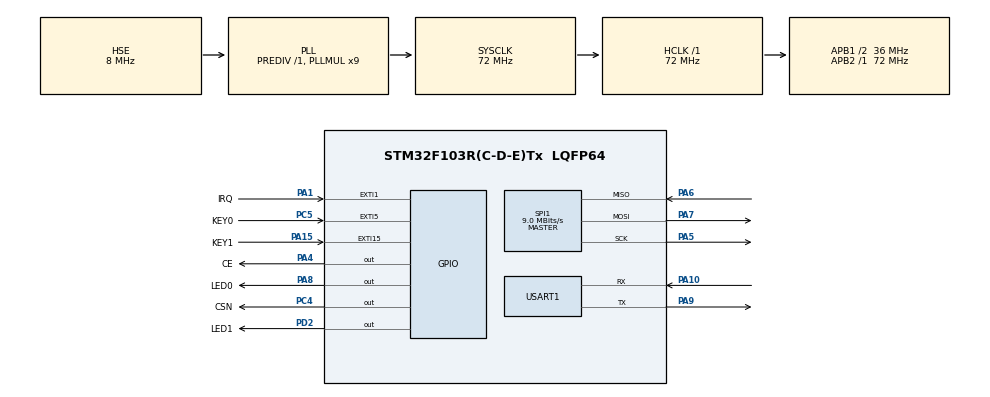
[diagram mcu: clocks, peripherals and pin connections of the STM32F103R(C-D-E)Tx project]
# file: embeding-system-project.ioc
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Mcu.Family=STM32F1
Mcu.Name=STM32F103R(C-D-E)Tx
Mcu.Package=LQFP64
NVIC.EXTI15_10_IRQn=true\:3\:0\:true\:false\:true\:true\:true
NVIC.EXTI9_5_IRQn=true\:3\:0\:true\:false\:true\:true\:true
NVIC.PriorityGroup=NVIC_PRIORITYGROUP_4
NVIC.SPI1_IRQn=true\:1\:0\:true\:false\:true\:true\:true
NVIC.USART1_IRQn=true\:2\:0\:true\:false\:true\:true\:true
PA1.GPIO_Label=IRQ
PA1.Signal=GPXTI1
PA10.Mode=Asynchronous
PA10.Signal=USART1_RX
PA13.Mode=Serial_Wire
PA13.Signal=SYS_JTMS-SWDIO
PA14.Mode=Serial_Wire
PA14.Signal=SYS_JTCK-SWCLK
PA15.GPIO_Label=KEY1
PA15.Signal=GPXTI15
PA4.GPIO_Label=CE
PA4.Signal=GPIO_Output
PA5.Mode=Full_Duplex_Master
PA5.Signal=SPI1_SCK
PA6.Mode=Full_Duplex_Master
PA6.Signal=SPI1_MISO
PA7.Mode=Full_Duplex_Master
PA7.Signal=SPI1_MOSI
PA8.GPIO_Label=LED0
PA8.Signal=GPIO_Output
PA9.Mode=Asynchronous
PA9.Signal=USART1_TX
PC4.GPIO_Label=CSN
PC4.Signal=GPIO_Output
PC5.GPIO_Label=KEY0
PC5.Signal=GPXTI5
PD0-OSC_IN.Mode=HSE-External-Oscillator
PD0-OSC_IN.Signal=RCC_OSC_IN
PD1-OSC_OUT.Mode=HSE-External-Oscillator
PD1-OSC_OUT.Signal=RCC_OSC_OUT
PD2.GPIO_Label=LED1
PD2.Signal=GPIO_Output
ProjectManager.HeapSize=0x200
ProjectManager.StackSize=0x400
ProjectManager.TargetToolchain=STM32CubeIDE
RCC.AHBFreq_Value=72000000
RCC.APB1CLKDivider=RCC_HCLK_DIV2
RCC.APB1Freq_Value=36000000
RCC.APB1TimFreq_Value=72000000
RCC.APB2Freq_Value=72000000
RCC.APB2TimFreq_Value=72000000
RCC.HCLKFreq_Value=72000000
RCC.PLLMUL=RCC_PLL_MUL9
RCC.PLLSourceVirtual=RCC_PLLSOURCE_HSE
RCC.SYSCLKFreq_VALUE=72000000
RCC.SYSCLKSource=RCC_SYSCLKSOURCE_PLLCLK
RCC.USBFreq_Value=72000000
SPI1.BaudRatePrescaler=SPI_BAUDRATEPRESCALER_8
SPI1.CalculateBaudRate=9.0 MBits/s
SPI1.Direction=SPI_DIRECTION_2LINES
SPI1.Mode=SPI_MODE_MASTER
SPI1.VirtualType=VM_MASTER
USART1.VirtualMode=VM_ASYNC
board=custom

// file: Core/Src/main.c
/* USER CODE BEGIN Header */
/**
 ******************************************************************************
 * @file           : main.c
 * @brief          : Main program body
 ******************************************************************************
 * @attention
 *
 * <h2><center>&copy; Copyright (c) 2020 STMicroelectronics.
 * All rights reserved.</center></h2>
 *
 * This software component is licensed by ST under BSD 3-Clause license,
 * the "License"; You may not use this file except in compliance with the
 * License. You may obtain a copy of the License at:
 *                        opensource.org/licenses/BSD-3-Clause
 *
 ******************************************************************************
 */
/* USER CODE END Header */

#include "main.h"
#include "spi.h"
#include "usart.h"
#include "gpio.h"

/* USER CODE BEGIN Includes */
#include "24l01.h"
#include "string.h"
#include "stdio.h"
#include "lcd.h"
/* USER CODE END Includes */

/* USER CODE BEGIN PV */
const char HEARTBEAT[] = "$BEAT";

int channel = 0;
uint8_t set_channel = 0;
uint8_t welcome = 0;
uint8_t flash = 0;
uint8_t heart_cnt = 0;
uint8_t led_cnt = 0;
uint8_t connect_status = 0;
uint8_t send_signal = 0;
uint8_t rxBuffer[10];
uint8_t rx_len = 0;
char buffer_msg[1024];
uint8_t buffer_rec[33];
char tmp[1024];
uint8_t isBegin = 0;
int last_led = -1;

static unsigned char outData_send[144] = { 0 };
static unsigned char outData_receive[144] = { 0 };
/* USER CODE END PV */

void SystemClock_Config(void);

void painting_send(const uint8_t *content);
void painting_receive(const uint8_t *content);
/* USER CODE BEGIN PFP */
void sendUARTMessage(char *str) {
	HAL_UART_Transmit(&huart1, (uint8_t*) str, strlen(str), 0xffff);
}
void showString(uint16_t x, uint16_t y, uint16_t size, char *msg) {
	uint16_t len = strlen(msg);
	LCD_ShowString(x - len * size / 4, y - size / 2, 10000, 10000, size,
			(uint8_t*) msg);
}
/* USER CODE END PFP */

int main(void) {

	/* MCU Configuration--------------------------------------------------------*/

	/* Reset of all peripherals, Initializes the Flash interface and the Systick. */
	HAL_Init();

	/* USER CODE BEGIN Init */
	NRF24L01_Init();
	LCD_Init();
	/* USER CODE END Init */

	/* Configure the system clock */
	SystemClock_Config();

	/* Initialize all configured peripherals */
	MX_GPIO_Init();
	MX_SPI1_Init();
	MX_USART1_UART_Init();
	/* USER CODE BEGIN 2 */
	HAL_UART_Receive_IT(&huart1, (uint8_t*) rxBuffer, 1);

	// Initialize the vars
	// reset: return to init state
	HAL_GPIO_TogglePin(LED1_GPIO_Port, LED1_Pin);
	HAL_GPIO_TogglePin(LED0_GPIO_Port, LED0_Pin);
	memset(buffer_msg, 0, sizeof(buffer_msg));
	memset(buffer_rec, 0, sizeof(buffer_rec));
	send_signal = 0;

	LCD_Clear(WHITE);
	POINT_COLOR = BLUE;
	showString(120, 80, 24, "Wechat 2077");
	POINT_COLOR = GREEN;
	showString(120, 240, 24, "Channel Not Set");
	POINT_COLOR = BLACK;
	showString(120, 140, 24, "Welcome");
	LCD_DrawRectangle(20, 20, 220, 280);
	/* USER CODE END 2 */

	/* Infinite loop */
	/* USER CODE BEGIN WHILE */
	while (1) {
		// Check module status
		if (NRF24L01_Check()) {
			LCD_Clear(WHITE);
			set_channel = 0;
			POINT_COLOR = BLACK;
			sendUARTMessage("2.4GHz NOT FOUND\r\n");
			showString(120, 140, 24, "2.4GHz NOT FOUND");
		}
		while (NRF24L01_Check()) {
			HAL_Delay(500);
			if(last_led==0){
				HAL_GPIO_TogglePin(LED1_GPIO_Port, LED1_Pin);
				HAL_GPIO_TogglePin(LED0_GPIO_Port, LED0_Pin);
				last_led = 1;
			}else{
				HAL_GPIO_TogglePin(LED0_GPIO_Port, LED0_Pin);
				last_led = -last_led;
			}

			flash = 1;
		}

		// Check channel status
		if (set_channel == 0) {
			// Re-initialize leds
			if(last_led==1){
				HAL_GPIO_TogglePin(LED0_GPIO_Port, LED0_Pin);
				last_led=-1;
			}
			if(last_led==0){
				HAL_GPIO_TogglePin(LED1_GPIO_Port, LED1_Pin);
				last_led=-1;
			}
			last_led = -1;
			// Re-initialize vars
			memset(buffer_msg, 0, sizeof(buffer_msg));
			memset(buffer_rec, 0, sizeof(buffer_rec));
			send_signal = 0;
			welcome = 1;
			// Draw Intro Page
			if (isBegin) {
				LCD_Clear(WHITE);
				POINT_COLOR = BLUE;
				showString(120, 80, 24, "CLOSED");
				POINT_COLOR = GREEN;
				showString(120, 220, 24, "CH Clear");
				showString(120, 260, 24, "reset to restart");
				POINT_COLOR = BLACK;
				LCD_DrawRectangle(20, 20, 220, 280);
				sendUARTMessage("SET CHANNEL:");
			}

		}
		while (set_channel == 0 ) {
		}
		if (welcome) {
			showString(120, 140, 24, "  Enter: 3  ");
			HAL_Delay(500);
			showString(120, 140, 24, "  Enter: 2  ");
			HAL_Delay(500);
			showString(120, 140, 24, "  Enter: 1  ");
			HAL_Delay(200);
			welcome = 0;
			flash = 1;
			connect_status = 2;

			LCD_Clear(WHITE);
			POINT_COLOR = BLUE;
			LCD_DrawRectangle(18, 58, 212, 132);
			POINT_COLOR = BLACK;
			LCD_DrawRectangle(18, 178, 212, 252);
		}

		// Draw fundamental elements
		if (flash == 1) {
			sprintf(tmp, "CH:%d", channel);
			LCD_ShowString(10, 12, 200, 200, 16, (uint8_t*) tmp);
			if (connect_status == 0) {
				POINT_COLOR = BLACK;
				LCD_ShowString(200, 12, 100, 100, 16, (uint8_t*) "^w^");
				showString(120, 300, 16, "     CONNECT    ");
				if(last_led == 1){
					HAL_GPIO_TogglePin(LED0_GPIO_Port, LED0_Pin);
					HAL_GPIO_TogglePin(LED1_GPIO_Port, LED1_Pin);
				}
				if(last_led==-1){
					HAL_GPIO_TogglePin(LED1_GPIO_Port, LED1_Pin);
				}
				last_led = 0;
			} else {
				POINT_COLOR = RED;
				LCD_ShowString(200, 12, 100, 100, 16, (uint8_t*) "QwQ");
				showString(120, 300, 16, "CONNECTION LOST");

				sprintf(tmp, "CH:%d", last_led);
				sendUARTMessage(tmp);
				if(last_led == 0){
					HAL_GPIO_TogglePin(LED0_GPIO_Port, LED0_Pin);
					HAL_GPIO_TogglePin(LED1_GPIO_Port, LED1_Pin);
				}
				if(last_led==-1){
					HAL_GPIO_TogglePin(LED0_GPIO_Port, LED0_Pin);
				}
				last_led = 1;
			}

			POINT_COLOR = BLACK;
			LCD_DrawLine(10, 30, 230, 30);
			LCD_DrawLine(10, 290, 230, 290);

			flash = 0;
		}

		// Handle RX messages
		NRF24L01_RX_Mode(channel);
		memset(buffer_rec, 0, sizeof(buffer_rec));
		if (NRF24L01_RxPacket(buffer_rec) == 0) {
			if (strcmp((char*) buffer_rec, HEARTBEAT) == 0)
				continue;
			uint8_t rec_len = 0;

			while (buffer_rec[rec_len] != '\0')
				rec_len++;

			if (rec_len != 0) {
				painting_receive(buffer_rec);
				flash |= 1;
			}
		}

		// Handle TX messages
		if (send_signal == 1 && strlen(buffer_msg) != 0) {
			NRF24L01_TX_Mode(channel);

			uint8_t tmp_status = (connect_status == 2) ? 2 : 1;
			if (NRF24L01_TxPacket((uint8_t*) buffer_msg) == TX_OK) {
				tmp_status = 0;
			}
			connect_status = tmp_status;

			if (tmp_status == 0) {
				painting_send((uint8_t*) buffer_msg);
			}

			send_signal = 0;
			flash |= 1;
		}

		// Connection test (Heart Packet)
		heart_cnt++;
		if ( heart_cnt == 10 ) {
			NRF24L01_TX_Mode(channel);
			uint8_t temp_status;
			if(NRF24L01_TxPacket((uint8_t*) HEARTBEAT) == TX_OK){
				temp_status = 0;
			}else{
				if(connect_status == 2){
					temp_status = 2;
				}else{
					temp_status = 1;
				}
			}
			if (connect_status == temp_status) {
//				flash |= 0;
			} else {
				flash = 1;
			}

			connect_status = temp_status;
			heart_cnt = 0;
		}

		// LED setting
//		if (connect_status == 0) {
//			HAL_GPIO_WritePin(LED1_GPIO_Port, LED1_Pin, GPIO_PIN_RESET);
//			HAL_GPIO_WritePin(LED0_GPIO_Port, LED0_Pin, GPIO_PIN_SET);
//		} else if (connect_status == 1) {
//			led_cnt++;
//			if (led_cnt == LED_FLASH) {
//				HAL_GPIO_TogglePin(LED0_GPIO_Port, LED0_Pin);
//				led_cnt = 0;
//			}
//			HAL_GPIO_WritePin(LED1_GPIO_Port, LED1_Pin, GPIO_PIN_SET);
//		} else {
//			HAL_GPIO_WritePin(LED0_GPIO_Port, LED0_Pin, GPIO_PIN_RESET);
//			HAL_GPIO_WritePin(LED1_GPIO_Port, LED1_Pin, GPIO_PIN_SET);
//		}

		// Delay for next round
		HAL_Delay(100);

		/* USER CODE END WHILE */

	}
}

void SystemClock_Config(void) {
	RCC_OscInitTypeDef RCC_OscInitStruct = { 0 };
	RCC_ClkInitTypeDef RCC_ClkInitStruct = { 0 };

	/** Initializes the CPU, AHB and APB busses clocks
	 */
	RCC_OscInitStruct.OscillatorType = RCC_OSCILLATORTYPE_HSE;
	RCC_OscInitStruct.HSEState = RCC_HSE_ON;
	RCC_OscInitStruct.HSEPredivValue = RCC_HSE_PREDIV_DIV1;
	RCC_OscInitStruct.HSIState = RCC_HSI_ON;
	RCC_OscInitStruct.PLL.PLLState = RCC_PLL_ON;
	RCC_OscInitStruct.PLL.PLLSource = RCC_PLLSOURCE_HSE;
	RCC_OscInitStruct.PLL.PLLMUL = RCC_PLL_MUL9;
	if (HAL_RCC_OscConfig(&RCC_OscInitStruct) != HAL_OK) {
		Error_Handler();
	}
	/** Initializes the CPU, AHB and APB busses clocks
	 */
	RCC_ClkInitStruct.ClockType = RCC_CLOCKTYPE_HCLK | RCC_CLOCKTYPE_SYSCLK
			| RCC_CLOCKTYPE_PCLK1 | RCC_CLOCKTYPE_PCLK2;
	RCC_ClkInitStruct.SYSCLKSource = RCC_SYSCLKSOURCE_PLLCLK;
	RCC_ClkInitStruct.AHBCLKDivider = RCC_SYSCLK_DIV1;
	RCC_ClkInitStruct.APB1CLKDivider = RCC_HCLK_DIV2;
	RCC_ClkInitStruct.APB2CLKDivider = RCC_HCLK_DIV1;

	if (HAL_RCC_ClockConfig(&RCC_ClkInitStruct, FLASH_LATENCY_2) != HAL_OK) {
		Error_Handler();
	}
}

/* USER CODE BEGIN 4 */
void painting_send(const uint8_t *content) {
	static unsigned char uRx_Data[48] = { 0 };
	static unsigned char uLength = 0;
	static unsigned char l = 0;

	for (int p = 0; p < 33; p++) {
		if (content[p] == '\0') {
			break;
		}

		if (uLength >= 48) {
			for (int i = 0; i < 48; i++) {
				uRx_Data[i] = uRx_Data[i + 16];
			}
			for (int i = 32; i < 48; i++) {
				uRx_Data[i] = 0;
			}
			uLength = 32;
		}
		uRx_Data[uLength] = content[p];
		uLength++;
	}

	l = uLength;
	while ((l) % 16 != 0) {
		l++;
	}
	int blank = l - uLength;
	int first = 16 - blank;
	for (int i = l - 1; i >= l - first; i--) {
		uRx_Data[i] = uRx_Data[i - blank];
	}
	for (int i = l - 16; i < l - first; i++) {
		uRx_Data[i] = ' ';
	}
	memcpy(outData_send, uRx_Data, 48);

	while (uLength % 16 > 0) {
		uLength++;
	}

	POINT_COLOR = BLUE;
	LCD_ShowString(20, 60, 192, 72, 24, (uint8_t*) outData_send);
}

void painting_receive(const uint8_t *content) {
	static unsigned char uRx_Data[48] = { 0 };
	static unsigned char uLength = 0;

	for (int p = 0; p < 33; p++) {
		if (content[p] == '\0') {
			break;
		}

		if (uLength >= 48) {
			for (int i = 0; i < 32; i++) {
				uRx_Data[i] = uRx_Data[i + 16];
			}
			for (int i = 32; i < 48; i++) {
				uRx_Data[i] = 0;
			}
			uLength = 32;
		}
		uRx_Data[uLength] = content[p];
		uLength++;
	}

	while (uLength % 16 > 0) {
		uRx_Data[uLength] = ' ';
		uLength++;
	}

	memcpy(outData_receive, uRx_Data, 48);

	POINT_COLOR = BLACK;
	LCD_ShowString(20, 180, 192, 72, 24, (uint8_t*) outData_receive);
}

void HAL_UART_RxCpltCallback(UART_HandleTypeDef *huart) {
	if (huart->Instance == USART1) {
		if (rxBuffer[0] == '\n') {
			if (strcmp(buffer_msg, "$OPEN") == 0 && (set_channel == 0)) {
				if (set_channel == 0) {
					channel = 80;
					set_channel = 1;
					sprintf(tmp, "SET CHANNEL AS %d SUCCESSFULLY.\n",
					80);
					sendUARTMessage(tmp);
				}
			} else if (strcmp(buffer_msg, "$CLOSE") == 0) {
				set_channel = 0;
				sendUARTMessage("CLOSE CONNECTION SUCCESSFULLY.\n");
			} else if (set_channel == 0) {
				set_channel = 1;
				channel = 0;
				for (int i = 0; i < rx_len; i++) {
					channel *= 10;
					channel += (int) (buffer_msg[i] - '0');
				}
				sprintf(tmp, "SET CHANNEL AS %d SUCCESSFULLY.\n", channel);
				sendUARTMessage(tmp);
			} else {
				send_signal = 1;
				buffer_msg[rx_len] = '\0';
			}
			rx_len = 0;
		} else {
			buffer_msg[rx_len] = rxBuffer[0];
			rx_len++;
		}
	}
}

void HAL_GPIO_EXTI_Callback(uint16_t GPIO_Pin) {
	switch (GPIO_Pin) {
	case KEY0_Pin:
		if (set_channel == 0) {
			channel = 80;
			set_channel = 1;
		}
		isBegin = 1;
		break;
	case KEY1_Pin:
		set_channel = 0;
		break;
	default:
		break;
	}
	HAL_Delay(100);
}
/* USER CODE END 4 */

void Error_Handler(void) {
}

/************************ (C) COPYRIGHT STMicroelectronics *****END OF FILE****/
